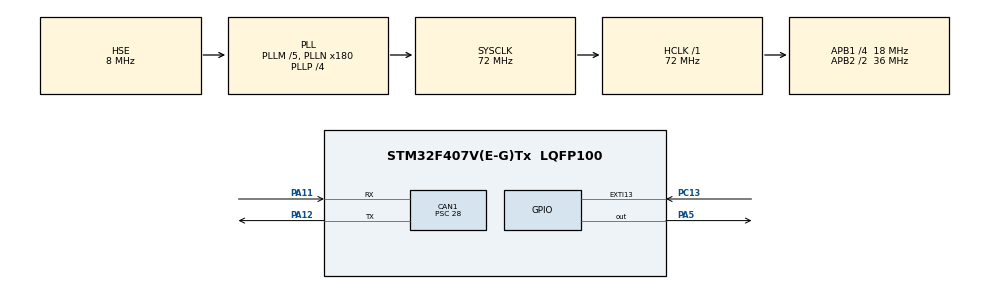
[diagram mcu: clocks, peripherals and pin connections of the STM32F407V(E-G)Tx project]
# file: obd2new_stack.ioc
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CAN1.BS1=CAN_BS1_1TQ
CAN1.BS2=CAN_BS2_1TQ
CAN1.CalculateBaudRate=214285
CAN1.CalculateTimeBit=4666
CAN1.CalculateTimeQuantum=1555.5555555555557
CAN1.Prescaler=28
Mcu.Family=STM32F4
Mcu.Name=STM32F407V(E-G)Tx
Mcu.Package=LQFP100
NVIC.CAN1_RX0_IRQn=true\:0\:0\:false\:false\:true\:true\:true\:true
NVIC.EXTI15_10_IRQn=true\:0\:0\:false\:false\:true\:true\:true\:true
NVIC.PriorityGroup=NVIC_PRIORITYGROUP_4
PA11.Mode=CAN_Activate
PA11.Signal=CAN1_RX
PA12.Mode=CAN_Activate
PA12.Signal=CAN1_TX
PA5.Signal=GPIO_Output
PC13-ANTI_TAMP.Signal=GPXTI13
PH0-OSC_IN.Mode=HSE-External-Oscillator
PH0-OSC_IN.Signal=RCC_OSC_IN
PH1-OSC_OUT.Mode=HSE-External-Oscillator
PH1-OSC_OUT.Signal=RCC_OSC_OUT
ProjectManager.HeapSize=0x200
ProjectManager.StackSize=0x400
ProjectManager.TargetToolchain=STM32CubeIDE
RCC.48MHZClocksFreq_Value=72000000
RCC.AHBFreq_Value=72000000
RCC.APB1CLKDivider=RCC_HCLK_DIV4
RCC.APB1Freq_Value=18000000
RCC.APB1TimFreq_Value=36000000
RCC.APB2CLKDivider=RCC_HCLK_DIV2
RCC.APB2Freq_Value=36000000
RCC.APB2TimFreq_Value=72000000
RCC.CortexFreq_Value=72000000
RCC.HCLKFreq_Value=72000000
RCC.HSE_VALUE=8000000
RCC.HSI_VALUE=16000000
RCC.LSE_VALUE=32768
RCC.PLLM=5
RCC.PLLN=180
RCC.PLLP=RCC_PLLP_DIV4
RCC.PLLSourceVirtual=RCC_PLLSOURCE_HSE
RCC.SYSCLKFreq_VALUE=72000000
RCC.SYSCLKSource=RCC_SYSCLKSOURCE_PLLCLK
RCC.VCOOutputFreq_Value=288000000
board=custom

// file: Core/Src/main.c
/* USER CODE BEGIN Header */
/**
  ******************************************************************************
  * @file           : main.c
  * @brief          : Main program body
  ******************************************************************************
  * @attention
  *
  * Copyright (c) 2023 STMicroelectronics.
  * All rights reserved.
  *
  * This software is licensed under terms that can be found in the LICENSE file
  * in the root directory of this software component.
  * If no LICENSE file comes with this software, it is provided AS-IS.
  *
  ******************************************************************************
  */
#if !defined(__SOFT_FP__) && defined(__ARM_FP)
  #warning "FPU is not initialized, but the project is compiling for an FPU. Please initialize the FPU before use."
#endif
/* USER CODE END Header */
#include "main.h"

/* USER CODE BEGIN Includes */
#include <stdbool.h>
/* USER CODE END Includes */

CAN_HandleTypeDef hcan1;

/* USER CODE BEGIN PV */
int dataCheck = 0;   /* Flag for blinking LED based on received CAN data */
/* USER CODE END PV */

void SystemClock_Config(void);
static void MX_GPIO_Init(void);
static void MX_CAN1_Init(void);

/* USER CODE BEGIN 0 */
CAN_TxHeaderTypeDef txHeader;
CAN_RxHeaderTypeDef rxHeader;

uint8_t txData[8];
uint8_t rxData[8];

uint32_t txMailbox;

/*
 * @brief : An ISR to handle CAN transmit whenever interrupt arrives on EXT1 on user button push.
 * @param: Activated GPIO PIN number.
 * @return: None.
 * */
void HAL_GPIO_EXT1_Callback(uint16_t GPIO_Pin)
{
	if (GPIO_Pin == GPIO_PIN_13) {
		txData[0] = 100 ;  /* 100ms delay */
		txData[1] = 10; /* Repeat loop 10 times */

		HAL_CAN_AddTxMessage(&hcan1, &txHeader,txData ,&txMailbox);
	}
}

/*
 * @brief : A Wrapper to handle CAN transmit.
 * @param1: Payload to be transmitted.
 * @return: None.
 * */
void canTransmit(uint8_t txBuff[])
{
	if(HAL_CAN_AddTxMessage(&hcan1, &txHeader,txBuff ,&txMailbox) != HAL_OK) {
		Error_Handler();
	}

}

/*
 * @brief : An ISR to handle CAN Receive whenever data arrives on FIFO0 on user button push.
 * @param: An instance of CAN HandleTypeDef .
 * @return: None.
 * */
void HAL_CAN_RxFifo1MsgPendingCallback(CAN_HandleTypeDef *hcan)
{
	HAL_CAN_GetRxMessage(hcan, CAN_RX_FIFO0, &rxHeader, rxData );
	if (rxHeader.DLC == 2)
		dataCheck = 1;
}
/* USER CODE END 0 */

int main(void)
{

  /* MCU Configuration--------------------------------------------------------*/

  /* Reset of all peripherals, Initializes the Flash interface and the Systick. */
  HAL_Init();

  /* Configure the system clock */
  SystemClock_Config();

  /* Initialize all configured peripherals */
  MX_GPIO_Init();
  MX_CAN1_Init();
  /* USER CODE BEGIN 2 */
  //int i = 0;
  HAL_CAN_Start(&hcan1);

  /* Activate notification for data pending in the RX FIFO */
  HAL_CAN_ActivateNotification(&hcan1, CAN_IT_RX_FIFO0_MSG_PENDING);

  /* USER CODE END 2 */

  /* Infinite loop */
  while (1)
  {

  }
}

void SystemClock_Config(void)
{
  RCC_OscInitTypeDef RCC_OscInitStruct = {0};
  RCC_ClkInitTypeDef RCC_ClkInitStruct = {0};

  /** Configure the main internal regulator output voltage
  */
  __HAL_RCC_PWR_CLK_ENABLE();
  __HAL_PWR_VOLTAGESCALING_CONFIG(PWR_REGULATOR_VOLTAGE_SCALE1);

  /** Initializes the RCC Oscillators according to the specified parameters
  * in the RCC_OscInitTypeDef structure.
  */
  RCC_OscInitStruct.OscillatorType = RCC_OSCILLATORTYPE_HSE;
  RCC_OscInitStruct.HSEState = RCC_HSE_ON;
  RCC_OscInitStruct.PLL.PLLState = RCC_PLL_ON;
  RCC_OscInitStruct.PLL.PLLSource = RCC_PLLSOURCE_HSE;
  RCC_OscInitStruct.PLL.PLLM = 5;
  RCC_OscInitStruct.PLL.PLLN = 180;
  RCC_OscInitStruct.PLL.PLLP = RCC_PLLP_DIV4;
  RCC_OscInitStruct.PLL.PLLQ = 4;
  if (HAL_RCC_OscConfig(&RCC_OscInitStruct) != HAL_OK)
  {
    Error_Handler();
  }

  /** Initializes the CPU, AHB and APB buses clocks
  */
  RCC_ClkInitStruct.ClockType = RCC_CLOCKTYPE_HCLK|RCC_CLOCKTYPE_SYSCLK
                              |RCC_CLOCKTYPE_PCLK1|RCC_CLOCKTYPE_PCLK2;
  RCC_ClkInitStruct.SYSCLKSource = RCC_SYSCLKSOURCE_PLLCLK;
  RCC_ClkInitStruct.AHBCLKDivider = RCC_SYSCLK_DIV1;
  RCC_ClkInitStruct.APB1CLKDivider = RCC_HCLK_DIV4;
  RCC_ClkInitStruct.APB2CLKDivider = RCC_HCLK_DIV2;

  if (HAL_RCC_ClockConfig(&RCC_ClkInitStruct, FLASH_LATENCY_2) != HAL_OK)
  {
    Error_Handler();
  }
}

static void MX_CAN1_Init(void)
{

  hcan1.Instance = CAN1;
  hcan1.Init.Prescaler = 28;
  hcan1.Init.Mode = CAN_MODE_NORMAL;
  hcan1.Init.SyncJumpWidth = CAN_SJW_1TQ;
  hcan1.Init.TimeSeg1 = CAN_BS1_1TQ;
  hcan1.Init.TimeSeg2 = CAN_BS2_1TQ;
  hcan1.Init.TimeTriggeredMode = DISABLE;
  hcan1.Init.AutoBusOff = DISABLE;
  hcan1.Init.AutoWakeUp = DISABLE;
  hcan1.Init.AutoRetransmission = DISABLE;
  hcan1.Init.ReceiveFifoLocked = DISABLE;
  hcan1.Init.TransmitFifoPriority = DISABLE;
  if (HAL_CAN_Init(&hcan1) != HAL_OK)
  {
    Error_Handler();
  }

}

static void MX_GPIO_Init(void)
{
  GPIO_InitTypeDef GPIO_InitStruct = {0};

  /* GPIO Ports Clock Enable */
  __HAL_RCC_GPIOC_CLK_ENABLE();
  __HAL_RCC_GPIOH_CLK_ENABLE();
  __HAL_RCC_GPIOA_CLK_ENABLE();

  /*Configure GPIO pin Output Level */
  HAL_GPIO_WritePin(GPIOA, GPIO_PIN_5, GPIO_PIN_RESET);

  /*Configure GPIO pin : PC13 */
  GPIO_InitStruct.Pin = GPIO_PIN_13;
  GPIO_InitStruct.Mode = GPIO_MODE_IT_RISING;
  GPIO_InitStruct.Pull = GPIO_NOPULL;
  HAL_GPIO_Init(GPIOC, &GPIO_InitStruct);

  /*Configure GPIO pin : PA5 */
  GPIO_InitStruct.Pin = GPIO_PIN_5;
  GPIO_InitStruct.Mode = GPIO_MODE_OUTPUT_PP;
  GPIO_InitStruct.Pull = GPIO_NOPULL;
  GPIO_InitStruct.Speed = GPIO_SPEED_FREQ_LOW;
  HAL_GPIO_Init(GPIOA, &GPIO_InitStruct);

  /* EXTI interrupt init*/
  HAL_NVIC_SetPriority(EXTI15_10_IRQn, 0, 0);
  HAL_NVIC_EnableIRQ(EXTI15_10_IRQn);

}

/* USER CODE BEGIN 4 */
/*
 * @brief : A function to configure CAN TX Header for transmission with Standard ID.
 * @param1: Length of Data to be transmitted in bytes.
 * @param2: The CAN ID to be transmitted in hex format.
 * @return: None.
 * */
void configCANTxStandard(uint8_t dlc, uint32_t hexID)
{
	txHeader.DLC = dlc;
	txHeader.IDE = CAN_ID_STD;
	txHeader.RTR = CAN_RTR_DATA;
	txHeader.StdId = hexID;       // 11 Bit Standard CAN ID.

}

/* USER CODE BEGIN 4 */
/*
 * @brief : A function to configure CAN TX Header for transmission with Extended ID.
 * @param1: Length of Data to be transmitted in bytes.
 * @param2: The CAN ID to be transmitted in hex format.
 * @return: None.
 * */
void configCANTxExtended(uint8_t dlc, uint32_t hexID)
{
	txHeader.DLC = dlc;
	txHeader.IDE = CAN_ID_EXT;
	txHeader.RTR = CAN_RTR_DATA;
	txHeader.ExtId = hexID;             //29 bit Extended CAN ID for ISO Compatibility.

}
/*
 * @brief : A function to configure CAN Filter.
 * @param1: The lower 16 bytes of CAN PID.
 * @param2: The higher 16 bytes of CAN PID.
 * @param3: A boolean flag for choosing between extended filtering/ standard filtering, set false for standard filtering.
 * @return: None.
 * */
void CAN_Filter(uint16_t lowID, uint16_t highID, bool isExtended)
{
	  CAN_FilterTypeDef  sFilterConfig;

	 /* uint16_t highID = mask |= ((mask << 16) & 0xFFFF0000);
	  uint16_t lowID = mask; */

	  /*##-2- Configure the CAN Filter ###########################################*/
	  if (isExtended == false) {
		  sFilterConfig.FilterBank = 0;
		  sFilterConfig.FilterMode = CAN_FILTERMODE_IDMASK;
		  sFilterConfig.FilterScale = CAN_FILTERSCALE_16BIT;
		  sFilterConfig.FilterIdHigh = (highID << 5);  /* As StdID starts from the 5th bit in the high register, as the bits 0-4 are occupied by extended ID */
		  sFilterConfig.FilterIdLow = 0x00;
		  sFilterConfig.FilterMaskIdHigh = (highID << 5); /* As StdID starts from the 5th bit in the high register, as the bits 0-4 are occupied by extended ID */
		  sFilterConfig.FilterMaskIdLow = 0x00;
		  sFilterConfig.FilterFIFOAssignment = CAN_RX_FIFO0;
		  sFilterConfig.FilterActivation = ENABLE;
		  sFilterConfig.SlaveStartFilterBank = 14;
	  } else if (isExtended == true) {
		  sFilterConfig.FilterBank = 0;
		  sFilterConfig.FilterMode = CAN_FILTERMODE_IDMASK;
		  sFilterConfig.FilterScale = CAN_FILTERSCALE_16BIT;
		  sFilterConfig.FilterIdHigh = highID;
		  sFilterConfig.FilterIdLow = lowID;
		  sFilterConfig.FilterMaskIdHigh = highID;
		  sFilterConfig.FilterMaskIdLow = lowID;
		  sFilterConfig.FilterFIFOAssignment = CAN_RX_FIFO0;
		  sFilterConfig.FilterActivation = ENABLE;
		  sFilterConfig.SlaveStartFilterBank = 14;

	  }
	  if (HAL_CAN_ConfigFilter(&hcan1, &sFilterConfig) != HAL_OK)
	  {
	    /* Filter configuration Error */
	    Error_Handler();
	  }

}
/* USER CODE END 4 */

void Error_Handler(void)
{
  __disable_irq();
  while (1)
  {
  }
}
